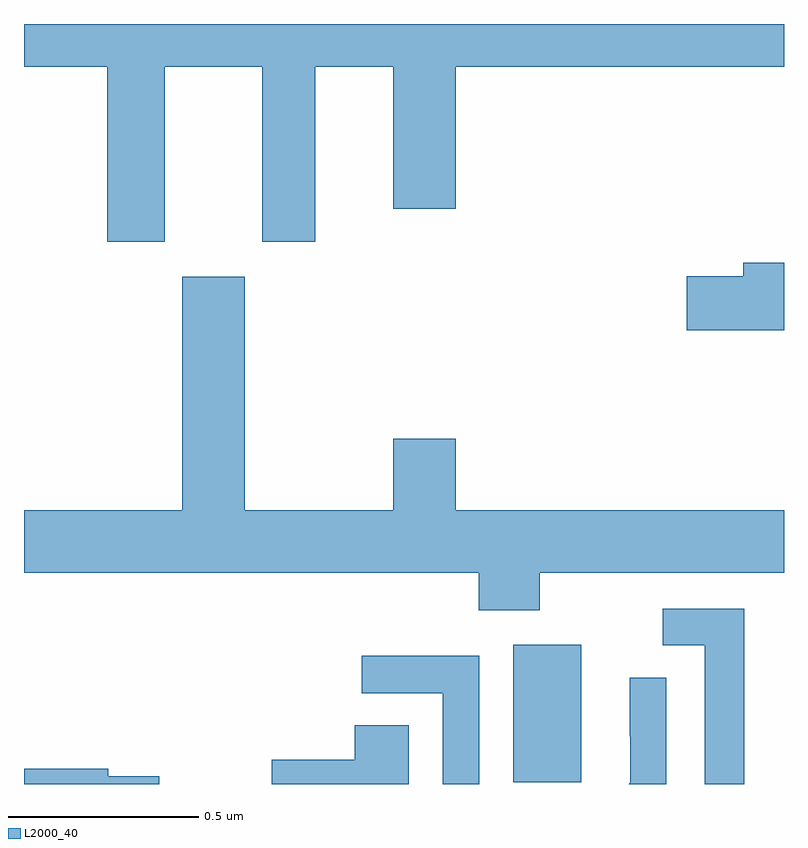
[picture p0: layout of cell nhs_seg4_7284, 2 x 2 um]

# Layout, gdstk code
import gdstk
lib = gdstk.Library(unit=1e-6, precision=1e-09)
def R(c, l, rs):  # rectangles x0, y0, x1, y1
    for r in rs: c.add(gdstk.rectangle(r[:2], r[2:], *l))
def P(c, l, *ps):  # polygons
    for p in ps: c.add(gdstk.Polygon(p, *l))
L2000_40 = (2000, 40)

nhs_seg4_7284 = lib.new_cell('nhs_seg4_7284')
R(nhs_seg4_7284, L2000_40, [(201.287,826.905,201.466,827.266)])
P(nhs_seg4_7284, L2000_40, [(200.371,828.788),(200.627,828.788),(200.627,828.327),(200.767,828.327),(200.767,828.788),(200.972,828.788),(200.972,828.414),(201.136,828.414),(201.136,828.788),(202,828.788),(202,828.9),(200,828.9),(200,828.788),(200.219,828.788),(200.219,828.327),(200.371,828.327)],
  [(202,828.272),(201.893,828.272),(201.893,828.236),(201.744,828.236),(201.744,828.094),(202,828.094)],
  [(201.197,827.357),(201.357,827.357),(201.357,827.456),(202,827.456),(202,827.62),(201.136,827.62),(201.136,827.809),(200.972,827.809),(200.972,827.62),(200.581,827.62),(200.581,828.235),(200.417,828.235),(200.417,827.62),(200,827.62),(200,827.456),(201.197,827.456)],
  [(201.895,827.361),(201.681,827.361),(201.681,827.265),(201.791,827.265),(201.791,826.9),(201.895,826.9)],
  [(201.198,827.238),(200.889,827.238),(200.889,827.139),(201.102,827.139),(201.102,826.9),(201.198,826.9)],
  [(201.69,827.18),(201.594,827.18),(201.594,827.026),(201.596,827.026),(201.596,826.904),(201.592,826.9),(201.69,826.9)],
  [(201.013,827.054),(200.87,827.054),(200.87,826.964),(200.652,826.964),(200.652,826.9),(201.013,826.9)],
  [(200.356,826.92),(200.222,826.92),(200.222,826.94),(200,826.94),(200,826.9),(200.356,826.9)])

lib.write_gds('nhs_seg4_7284.gds')
